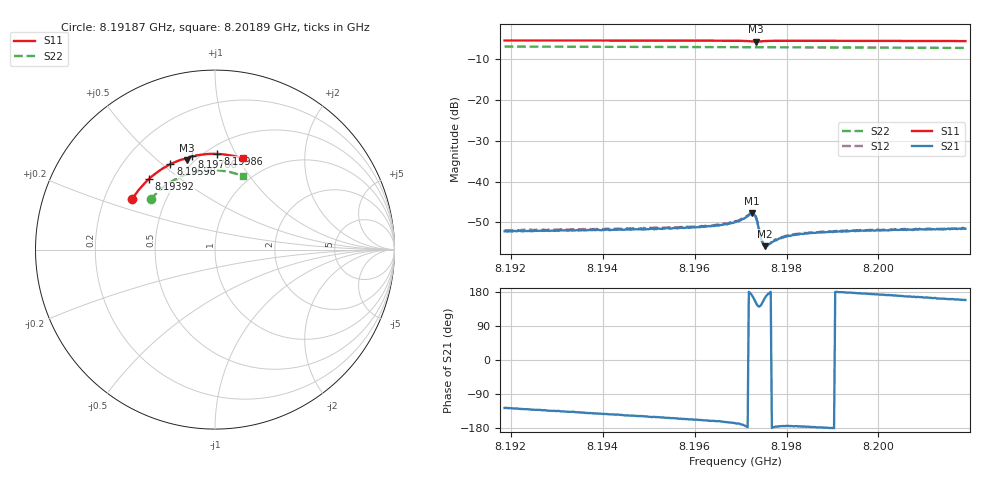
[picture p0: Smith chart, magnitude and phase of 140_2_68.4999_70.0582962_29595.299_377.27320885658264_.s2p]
#  HZ  S  RI  R  50.00
! Rohde & Schwarz Vector Network Analyzer
! Rohde-Schwarz,ZNB20-2Port,1311601062101988,3.16
! Created: UTC 3/20/2024, 5:09:59 PM
! freq[Hz]  re:S11  im:S11  re:S21  im:S21  re:S12  im:S12  re:S22  im:S22
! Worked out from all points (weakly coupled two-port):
!   401 points, 8.19187 GHz to 8.20189 GHz, reference 50 ohm
!   highest |S21| = -47.80 dB at 8.19726 GHz (marker M1); lowest = -55.8 dB at 8.19753 GHz (marker M2)
!   lowest |S11| = -5.7 dB at 8.19733 GHz (marker M3), VSWR 3.17, Z = 23 + j31.4 ohm
!   |S11| at or under -10 dB: nowhere
!   |S22| runs from -7.2 to -6.9 dB; largest |S21 - S12| = 0.00023
!   S11 on the Smith chart (normalised r, x): 8.19187 GHz: 0.32, +0.26; 8.19392 GHz: 0.35, +0.39; 8.19598 GHz: 0.40, +0.53; 8.19786 GHz: 0.46, +0.67; 8.19986 GHz: 0.57, +0.85; 8.20189 GHz: 0.74, +1.04
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8.19187e9  -0.46 0.2828  -0.00147 -0.00198  -0.00155 -0.002  -0.3578 0.2794
8.193549e9  -0.3868 0.3752  -0.00189 -0.00169  -0.002 -0.00166  -0.2916 0.3454
8.193924e9  -0.3678 0.3936  -0.00201 -0.00159  -0.0021 -0.00154  -0.2748 0.3581
8.195227e9  -0.295 0.4496  -0.00233 -0.0013  -0.00243 -0.00125  -0.2127 0.3959
8.195978e9  -0.2486 0.476  -0.00254 -0.00105  -0.00264 -0.00096  -0.1741 0.4132
8.196479e9  -0.2159 0.4909  -0.00274 -0.000919  -0.00285 -0.000816  -0.1477 0.4224
8.19688e9  -0.1878 0.5011  -0.00309 -0.000732  -0.00321 -0.000663  -0.1258 0.4289
8.197005e9  -0.1782 0.5036  -0.00333 -0.000607  -0.00344 -0.000473  -0.1189 0.4304
8.197256e9  -0.1573 0.5014  -0.00401 0.000755  -0.00404 0.000942  -0.1052 0.4333
8.197306e9  -0.156 0.4981  -0.00365 0.00144  -0.00365 0.00165  -0.1023 0.4339
8.197331e9  -0.1566 0.4968  -0.00326 0.00172  -0.00326 0.0019  -0.101 0.4341
8.197356e9  -0.1578 0.4967  -0.00279 0.00187  -0.00277 0.00199  -0.0997 0.4343
8.197456e9  -0.1585 0.5035  -0.00161 0.00105  -0.00161 0.00114  -0.0943 0.4356
8.197481e9  -0.1572 0.5055  -0.00157 0.000822  -0.00156 0.000916  -0.093 0.4358
8.197531e9  -0.1538 0.5087  -0.00156 0.000441  -0.00156 0.00053  -0.0904 0.4365
8.197581e9  -0.1501 0.511  -0.00162 0.000231  -0.00164 0.000306  -0.0873 0.437
8.197857e9  -0.1291 0.519  -0.00201 -0.000193  -0.00204 -0.000102  -0.0719 0.4393
8.198157e9  -0.1073 0.524  -0.00221 -0.000192  -0.00226 -0.000114  -0.055 0.4412
8.198558e9  -0.0788 0.5288  -0.00234 -0.00013  -0.0024 -4.45e-05  -0.0323 0.4427
8.199861e9  0.0136 0.5331  -0.00251 0.000269  -0.00254 0.00035  0.0417 0.4396
8.200236e9  0.0401 0.5312  -0.00252 0.0004  -0.00251 0.000544  0.0627 0.4363
8.20189e9  0.1544 0.5078  -0.00246 0.000973  -0.00243 0.00109  0.1533 0.4098
